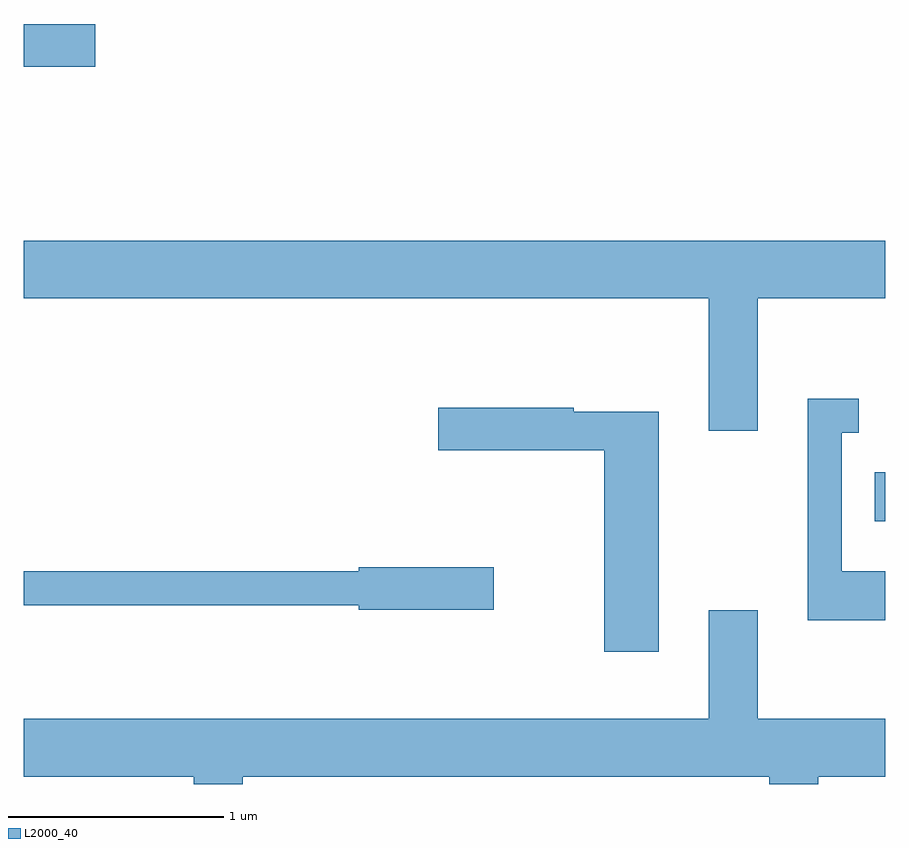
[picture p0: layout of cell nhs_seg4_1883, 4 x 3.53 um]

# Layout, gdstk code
import gdstk
lib = gdstk.Library(unit=1e-6, precision=1e-09)
def R(c, l, rs):  # rectangles x0, y0, x1, y1
    for r in rs: c.add(gdstk.rectangle(r[:2], r[2:], *l))
def P(c, l, *ps):  # polygons
    for p in ps: c.add(gdstk.Polygon(p, *l))
L2000_40 = (2000, 40)

nhs_seg4_1883 = lib.new_cell('nhs_seg4_1883')
R(nhs_seg4_1883, L2000_40, [(243.561,1349.201,243.611,1349.429), (239.611,1351.311,239.944,1351.509)])
P(nhs_seg4_1883, L2000_40, [(243.019,1350.236),(243.611,1350.236),(243.611,1350.504),(239.611,1350.504),(239.611,1350.236),(242.791,1350.236),(242.791,1349.621),(243.019,1349.621)],
  [(243.611,1348.969),(243.409,1348.969),(243.409,1349.611),(243.488,1349.611),(243.488,1349.769),(243.251,1349.769),(243.251,1348.741),(243.611,1348.741)],
  [(242.559,1349.709),(242.164,1349.709),(242.164,1349.729),(241.536,1349.729),(241.536,1349.531),(242.306,1349.531),(242.306,1348.596),(242.559,1348.596)],
  [(241.794,1348.989),(241.166,1348.989),(241.166,1348.969),(239.611,1348.969),(239.611,1348.811),(241.166,1348.811),(241.166,1348.791),(241.794,1348.791)],
  [(240.629,1348.016),(243.071,1348.016),(243.071,1347.982),(243.299,1347.982),(243.299,1348.016),(243.611,1348.016),(243.611,1348.284),(243.019,1348.284),(243.019,1348.789),(242.791,1348.789),(242.791,1348.284),(239.611,1348.284),(239.611,1348.016),(240.401,1348.016),(240.401,1347.982),(240.629,1347.982)])

lib.write_gds('nhs_seg4_1883.gds')
